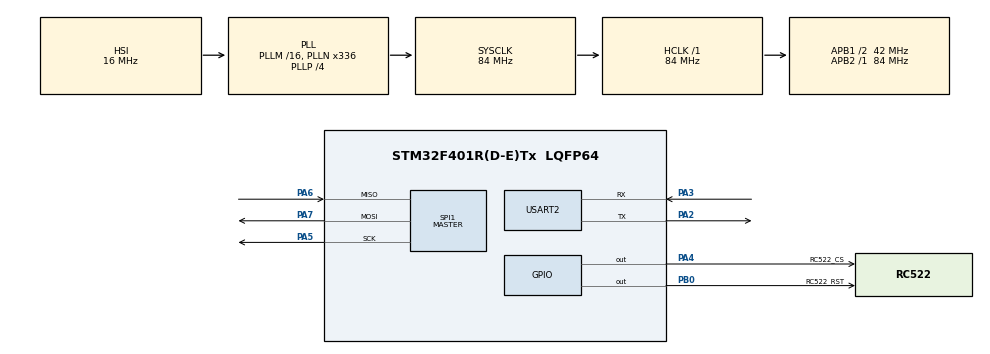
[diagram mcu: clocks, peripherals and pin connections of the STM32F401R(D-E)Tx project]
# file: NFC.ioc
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Mcu.Family=STM32F4
Mcu.Name=STM32F401R(D-E)Tx
Mcu.Package=LQFP64
NVIC.PriorityGroup=NVIC_PRIORITYGROUP_0
PA2.Mode=Asynchronous
PA2.Signal=USART2_TX
PA3.Mode=Asynchronous
PA3.Signal=USART2_RX
PA4.GPIO_Label=RC522_CS
PA4.PinState=GPIO_PIN_SET
PA4.Signal=GPIO_Output
PA5.Mode=Full_Duplex_Master
PA5.Signal=SPI1_SCK
PA6.Mode=Full_Duplex_Master
PA6.Signal=SPI1_MISO
PA7.Mode=Full_Duplex_Master
PA7.Signal=SPI1_MOSI
PB0.GPIO_Label=RC522_RST
PB0.PinState=GPIO_PIN_SET
PB0.Signal=GPIO_Output
ProjectManager.HeapSize=0x200
ProjectManager.StackSize=0x400
ProjectManager.TargetToolchain=CMake
RCC.AHBFreq_Value=84000000
RCC.APB1CLKDivider=RCC_HCLK_DIV2
RCC.APB1Freq_Value=42000000
RCC.APB1TimFreq_Value=84000000
RCC.APB2Freq_Value=84000000
RCC.APB2TimFreq_Value=84000000
RCC.CortexFreq_Value=84000000
RCC.HCLKFreq_Value=84000000
RCC.HSE_VALUE=8000000
RCC.HSI_VALUE=16000000
RCC.LSE_VALUE=32768
RCC.PLLN=336
RCC.PLLP=RCC_PLLP_DIV4
RCC.PLLQ=7
RCC.SYSCLKFreq_VALUE=84000000
RCC.SYSCLKSource=RCC_SYSCLKSOURCE_PLLCLK
RCC.VCOOutputFreq_Value=336000000
SPI1.BaudRatePrescaler=SPI_BAUDRATEPRESCALER_32
SPI1.Direction=SPI_DIRECTION_2LINES
SPI1.Mode=SPI_MODE_MASTER
SPI1.VirtualType=VM_MASTER
USART2.VirtualMode=VM_ASYNC
board=NUCLEO-F401RE

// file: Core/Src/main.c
/* USER CODE BEGIN Header */
/**
  ******************************************************************************
  * @file           : main.c
  * @brief          : Main program body
  ******************************************************************************
  * @attention
  *
  * Copyright (c) 2026 STMicroelectronics.
  * All rights reserved.
  *
  * This software is licensed under terms that can be found in the LICENSE file
  * in the root directory of this software component.
  * If no LICENSE file comes with this software, it is provided AS-IS.
  *
  ******************************************************************************
  */
/* USER CODE END Header */
#include "main.h"

/* USER CODE BEGIN Includes */
#include "rc522.h"
#include "stdio.h"
#include "string.h"
/* USER CODE END Includes */

SPI_HandleTypeDef hspi1;

UART_HandleTypeDef huart2;

/* USER CODE BEGIN PV */
uint8_t status;
uint8_t str[16];
/* USER CODE END PV */

void SystemClock_Config(void);
static void MX_GPIO_Init(void);
static void MX_SPI1_Init(void);
static void MX_USART2_UART_Init(void);

/* USER CODE BEGIN 0 */
int _write(int file, char *ptr, int len) {
  HAL_UART_Transmit(&huart2, (uint8_t *)ptr, len, HAL_MAX_DELAY);
  return len;
}
/* USER CODE END 0 */

int main(void)
{

  /* MCU Configuration--------------------------------------------------------*/

  /* Reset of all peripherals, Initializes the Flash interface and the Systick. */
  HAL_Init();

  /* Configure the system clock */
  SystemClock_Config();

  /* Initialize all configured peripherals */
  MX_GPIO_Init();
  MX_SPI1_Init();
  MX_USART2_UART_Init();
  /* USER CODE BEGIN 2 */
  MFRC522_Init();
  printf("RFID Ready. Tap your empty NFC tag...\r\n");
  /* USER CODE END 2 */

  /* Infinite loop */
  /* USER CODE BEGIN WHILE */
  while (1)
  {
    status = MFRC522_Request(PICC_REQIDL, str);

    if (status == MI_OK) {
      status = MFRC522_Anticoll(str);

      if (status == MI_OK) {
        printf("\r\nTag detected! UID: %02X %02X %02X %02X\r\n", str[0], str[1], str[2], str[3]);

        uint8_t size = MFRC522_SelectTag(str);

        if (size != 0) {
          uint8_t buffer1[18];
          uint8_t buffer2[18];
          char fullPayload[33];

          status = MFRC522_Read(4, buffer1);

          if (status == MI_OK) {
            status = MFRC522_Read(8, buffer2);

            if (status == MI_OK) {
              memcpy(fullPayload, buffer1, 16);
              memcpy(fullPayload + 16, buffer2, 16);
              fullPayload[32] = '\0';

              if (strstr(fullPayload, "TDK-PASS-2026") != NULL) {
                printf(">>> ACCESS GRANTED: Correct password found on sticker! <<<\r\n");
              } else {
                printf(">>> ACCESS DENIED: Unknown sticker. <<<\r\n");
              }
            } else {
              printf("Error: Could not read second half of memory (Page 8).\r\n");
            }
          } else {
            printf("Error: Could not read first half of memory (Page 4).\r\n");
          }

          MFRC522_Halt();
          HAL_Delay(1000);
        }
      }
    }
    /* USER CODE END WHILE */

  }
}

void SystemClock_Config(void)
{
  RCC_OscInitTypeDef RCC_OscInitStruct = {0};
  RCC_ClkInitTypeDef RCC_ClkInitStruct = {0};

  /** Configure the main internal regulator output voltage
  */
  __HAL_RCC_PWR_CLK_ENABLE();
  __HAL_PWR_VOLTAGESCALING_CONFIG(PWR_REGULATOR_VOLTAGE_SCALE2);

  /** Initializes the RCC Oscillators according to the specified parameters
  * in the RCC_OscInitTypeDef structure.
  */
  RCC_OscInitStruct.OscillatorType = RCC_OSCILLATORTYPE_HSI;
  RCC_OscInitStruct.HSIState = RCC_HSI_ON;
  RCC_OscInitStruct.HSICalibrationValue = RCC_HSICALIBRATION_DEFAULT;
  RCC_OscInitStruct.PLL.PLLState = RCC_PLL_ON;
  RCC_OscInitStruct.PLL.PLLSource = RCC_PLLSOURCE_HSI;
  RCC_OscInitStruct.PLL.PLLM = 16;
  RCC_OscInitStruct.PLL.PLLN = 336;
  RCC_OscInitStruct.PLL.PLLP = RCC_PLLP_DIV4;
  RCC_OscInitStruct.PLL.PLLQ = 7;
  if (HAL_RCC_OscConfig(&RCC_OscInitStruct) != HAL_OK)
  {
    Error_Handler();
  }

  /** Initializes the CPU, AHB and APB buses clocks
  */
  RCC_ClkInitStruct.ClockType = RCC_CLOCKTYPE_HCLK|RCC_CLOCKTYPE_SYSCLK
                              |RCC_CLOCKTYPE_PCLK1|RCC_CLOCKTYPE_PCLK2;
  RCC_ClkInitStruct.SYSCLKSource = RCC_SYSCLKSOURCE_PLLCLK;
  RCC_ClkInitStruct.AHBCLKDivider = RCC_SYSCLK_DIV1;
  RCC_ClkInitStruct.APB1CLKDivider = RCC_HCLK_DIV2;
  RCC_ClkInitStruct.APB2CLKDivider = RCC_HCLK_DIV1;

  if (HAL_RCC_ClockConfig(&RCC_ClkInitStruct, FLASH_LATENCY_2) != HAL_OK)
  {
    Error_Handler();
  }
}

static void MX_SPI1_Init(void)
{

  /* SPI1 parameter configuration*/
  hspi1.Instance = SPI1;
  hspi1.Init.Mode = SPI_MODE_MASTER;
  hspi1.Init.Direction = SPI_DIRECTION_2LINES;
  hspi1.Init.DataSize = SPI_DATASIZE_8BIT;
  hspi1.Init.CLKPolarity = SPI_POLARITY_LOW;
  hspi1.Init.CLKPhase = SPI_PHASE_1EDGE;
  hspi1.Init.NSS = SPI_NSS_SOFT;
  hspi1.Init.BaudRatePrescaler = SPI_BAUDRATEPRESCALER_32;
  hspi1.Init.FirstBit = SPI_FIRSTBIT_MSB;
  hspi1.Init.TIMode = SPI_TIMODE_DISABLE;
  hspi1.Init.CRCCalculation = SPI_CRCCALCULATION_DISABLE;
  hspi1.Init.CRCPolynomial = 10;
  if (HAL_SPI_Init(&hspi1) != HAL_OK)
  {
    Error_Handler();
  }

}

static void MX_USART2_UART_Init(void)
{

  huart2.Instance = USART2;
  huart2.Init.BaudRate = 115200;
  huart2.Init.WordLength = UART_WORDLENGTH_8B;
  huart2.Init.StopBits = UART_STOPBITS_1;
  huart2.Init.Parity = UART_PARITY_NONE;
  huart2.Init.Mode = UART_MODE_TX_RX;
  huart2.Init.HwFlowCtl = UART_HWCONTROL_NONE;
  huart2.Init.OverSampling = UART_OVERSAMPLING_16;
  if (HAL_UART_Init(&huart2) != HAL_OK)
  {
    Error_Handler();
  }

}

static void MX_GPIO_Init(void)
{
  GPIO_InitTypeDef GPIO_InitStruct = {0};

  /* GPIO Ports Clock Enable */
  __HAL_RCC_GPIOA_CLK_ENABLE();
  __HAL_RCC_GPIOB_CLK_ENABLE();

  /*Configure GPIO pin Output Level */
  HAL_GPIO_WritePin(RC522_CS_GPIO_Port, RC522_CS_Pin, GPIO_PIN_SET);

  /*Configure GPIO pin Output Level */
  HAL_GPIO_WritePin(RC522_RST_GPIO_Port, RC522_RST_Pin, GPIO_PIN_SET);

  /*Configure GPIO pin : RC522_CS_Pin */
  GPIO_InitStruct.Pin = RC522_CS_Pin;
  GPIO_InitStruct.Mode = GPIO_MODE_OUTPUT_PP;
  GPIO_InitStruct.Pull = GPIO_NOPULL;
  GPIO_InitStruct.Speed = GPIO_SPEED_FREQ_LOW;
  HAL_GPIO_Init(RC522_CS_GPIO_Port, &GPIO_InitStruct);

  /*Configure GPIO pin : RC522_RST_Pin */
  GPIO_InitStruct.Pin = RC522_RST_Pin;
  GPIO_InitStruct.Mode = GPIO_MODE_OUTPUT_PP;
  GPIO_InitStruct.Pull = GPIO_NOPULL;
  GPIO_InitStruct.Speed = GPIO_SPEED_FREQ_LOW;
  HAL_GPIO_Init(RC522_RST_GPIO_Port, &GPIO_InitStruct);

}

void Error_Handler(void)
{
  __disable_irq();
  while (1)
  {
  }
}
